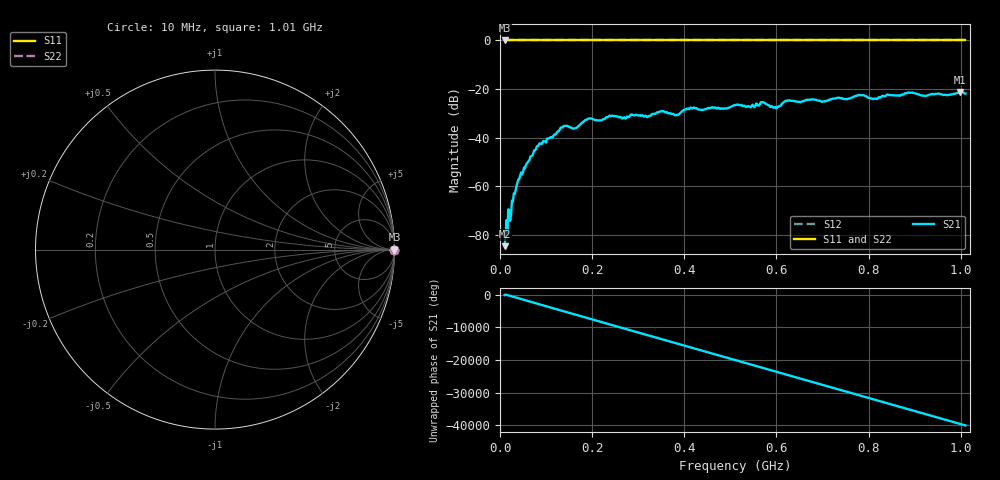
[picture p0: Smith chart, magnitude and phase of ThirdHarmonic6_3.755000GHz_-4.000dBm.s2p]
! 8/17/2025 12:53:11 PM
! C:\ANRITSUVNA\TEMP\TEMP.S2P
! CHANNEL.1
! TR.MEASUREMENT
! RAW.DATA
! RF.CORRECTION.OFF
! AVERAGING.OFF
! IF.BANDWIDTH: 5KHZ
! SWEEPTYPE:  FREQ.SWEEP(Linear)
! Reference Plane Port Info
! PORT:  PORT1  PORT2
! DISTANCE:  0  m  0  m
! TIME:  0  s  0  s
! PHASE.OFFSET:  0  deg.  0  deg.
! LOSS:  0  dB  0  dB
! REF.LOSS:  0  dB  0  dB
! REF.FREQ:  0  Hz  0  Hz
! Power Info
! POWER:  -20  dBm  -20  dBm
! EFF.POWER:  -20  dBm  -20  dBm
! SOURCE.ATTEN:  0  dB  0  dB
! TEST.ATTEN:  0  dB  0  dB
# GHZ S RI R 50.0
! FREQ.GHZ  S11RE  S11IM  S21RE  S21IM  S12RE  S12IM  S22RE  S22IM
!; PortSelection: Port_12
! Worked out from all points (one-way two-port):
!   501 points, 10 MHz to 1.01 GHz, reference 50 ohm
!   highest |S21| = -21.19 dB at 998 MHz (marker M1); lowest = -84.6 dB at 10 MHz (marker M2)
!   lowest |S11| = 0.0 dB at 10 MHz (marker M3)
!   |S11| at or under -10 dB: nowhere
!   |S22| runs from 0.0 to 0.0 dB; largest |S21 - S12| = 1.1
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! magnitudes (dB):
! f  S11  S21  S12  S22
! 10 MHz  0.0  -84.6  0.0  0.0
! 12 MHz  0.0  -80.6  0.0  0.0
! 42 MHz  0.0  -57.0  0.0  0.0
! 78 MHz  0.0  -44.8  0.0  0.0
! 136 MHz  0.0  -35.8  0.0  0.0
! 162 MHz  0.0  -36.2  0.0  0.0
! 178 MHz  0.0  -33.8  0.0  0.0
! 194 MHz  0.0  -32.1  0.0  0.0
! 322 MHz  0.0  -31.2  0.0  0.0
! 344 MHz  0.0  -29.6  0.0  0.0
! 384 MHz  0.0  -30.7  0.0  0.0
! 410 MHz  0.0  -28.3  0.0  0.0
! 510 MHz  0.0  -26.6  0.0  0.0
! 570 MHz  0.0  -25.4  0.0  0.0
! 598 MHz  0.0  -27.4  0.0  0.0
! 624 MHz  0.0  -24.7  0.0  0.0
! 678 MHz  0.0  -24.2  0.0  0.0
! 782 MHz  0.0  -22.5  0.0  0.0
! 814 MHz  0.0  -23.9  0.0  0.0
! 844 MHz  0.0  -22.4  0.0  0.0
! 998 MHz  0.0  -21.2  0.0  0.0
! 1.01 GHz  0.0  -21.9  0.0  0.0
